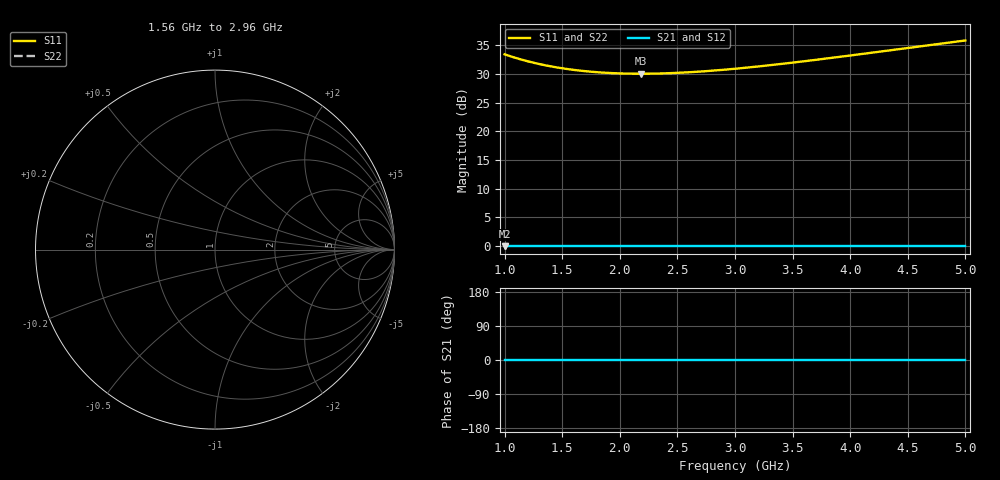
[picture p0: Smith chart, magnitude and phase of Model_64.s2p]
# GHZ S RI R 50
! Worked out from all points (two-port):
!   401 points, 1 GHz to 5 GHz, reference 50 ohm
!   highest |S21| = 0.00 dB at 1 GHz (marker M1); lowest = 0.0 dB at 1 GHz (marker M2)
!   |S21| within 3 dB of the highest: start of sweep to end of sweep
!   lowest |S11| = 30.0 dB at 2.18 GHz (marker M3)
!   |S11| at or under -10 dB: nowhere
!   |S22| runs from 30.0 to 35.8 dB; largest |S21 - S12| = 0
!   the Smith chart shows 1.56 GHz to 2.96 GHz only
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1  46.76 0  1 0  1 0  46.76 0
1.15  41.95 0  1 0  1 0  41.95 0
1.22  40.2 0  1 0  1 0  40.2 0
1.3  38.49 0  1 0  1 0  38.49 0
1.38  37.06 0  1 0  1 0  37.06 0
1.47  35.72 0  1 0  1 0  35.72 0
1.57  34.52 0  1 0  1 0  34.52 0
1.67  33.58 0  1 0  1 0  33.58 0
1.79  32.73 0  1 0  1 0  32.73 0
1.91  32.16 0  1 0  1 0  32.16 0
2.04  31.8 0  1 0  1 0  31.8 0
2.18  31.68 0  1 0  1 0  31.68 0
2.34  31.82 0  1 0  1 0  31.82 0
2.5  32.24 0  1 0  1 0  32.24 0
2.66  32.9 0  1 0  1 0  32.9 0
3  35 0  1 0  1 0  35 0
3.33  37.84 0  1 0  1 0  37.84 0
3.67  41.48 0  1 0  1 0  41.48 0
4  45.64 0  1 0  1 0  45.64 0
4.34  50.55 0  1 0  1 0  50.55 0
4.63  55.2 0  1 0  1 0  55.2 0
5  61.72 0  1 0  1 0  61.72 0
